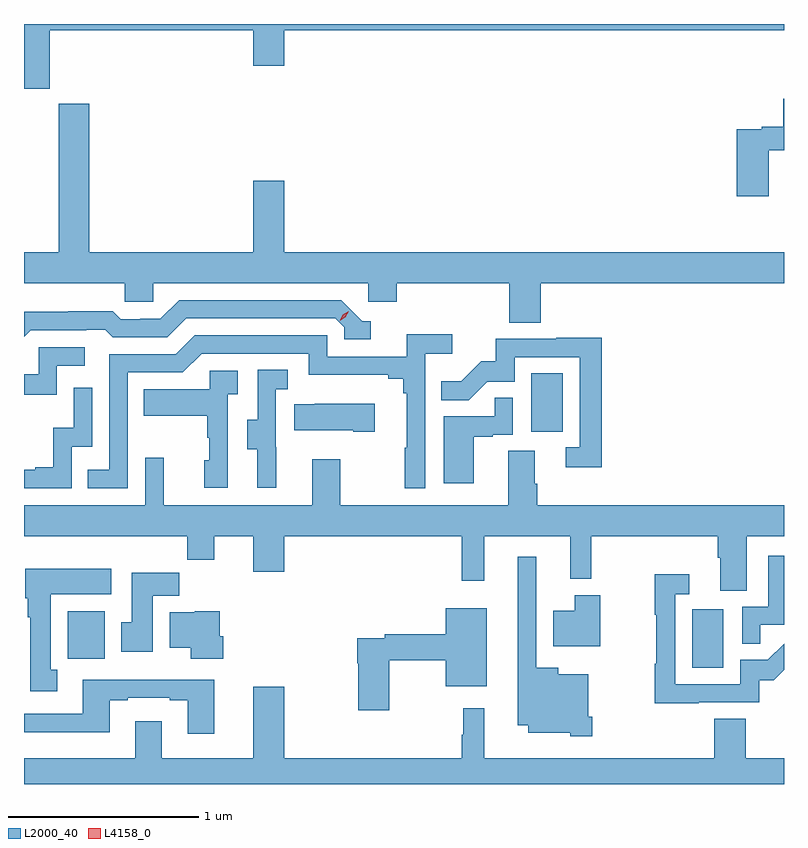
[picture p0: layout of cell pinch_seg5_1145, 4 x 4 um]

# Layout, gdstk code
import gdstk
lib = gdstk.Library(unit=1e-6, precision=1e-09)
def R(c, l, rs):  # rectangles x0, y0, x1, y1
    for r in rs: c.add(gdstk.rectangle(r[:2], r[2:], *l))
def P(c, l, *ps):  # polygons
    for p in ps: c.add(gdstk.Polygon(p, *l))
L2000_40 = (2000, 40)
L4158_0 = (4158, 0)

pinch_seg5_1145 = lib.new_cell('pinch_seg5_1145')
R(pinch_seg5_1145, L2000_40, [(838.646,840.084,838.81,840.391), (835.359,840.132,835.555,840.382), (837.8,841.326,837.964,841.633)])
P(pinch_seg5_1145, L2000_40, [(835.264,843.44),(836.336,843.44),(836.336,843.252),(836.5,843.252),(836.5,843.44),(839.129,843.44),(839.129,843.472),(835.129,843.472),(835.129,843.131),(835.264,843.131)],
  [(839.05,842.807),(839.129,842.807),(839.129,843.079),(839.126,843.079),(839.126,842.931),(839.013,842.931),(839.013,842.917),(838.88,842.917),(838.88,842.565),(839.05,842.565)],
  [(837.848,842.108),(839.129,842.108),(839.129,842.272),(836.5,842.272),(836.5,842.647),(836.336,842.647),(836.336,842.272),(835.472,842.272),(835.472,843.052),(835.312,843.052),(835.312,842.272),(835.129,842.272),(835.129,842.108),(835.659,842.108),(835.659,842.01),(835.809,842.01),(835.809,842.108),(836.94,842.108),(836.94,842.01),(837.092,842.01),(837.092,842.108),(837.683,842.108),(837.683,841.9),(837.848,841.9)],
  [(836.953,841.908),(836.91,841.908),(836.799,842.019),(835.946,842.019),(835.847,841.92),(835.74,841.92),(835.74,841.917),(835.637,841.917),(835.595,841.96),(835.362,841.96),(835.362,841.957),(835.129,841.957),(835.129,841.825),(835.164,841.86),(835.457,841.86),(835.457,841.863),(835.556,841.863),(835.595,841.824),(835.884,841.824),(835.983,841.923),(836.766,841.923),(836.814,841.875),(836.814,841.812),(836.953,841.812)],
  [(835.674,841.638),(835.965,841.638),(836.064,841.737),(836.628,841.737),(836.628,841.625),(837.047,841.625),(837.047,841.606),(837.124,841.606),(837.124,841.529),(837.143,841.529),(837.143,841.241),(837.132,841.241),(837.132,841.029),(837.24,841.029),(837.24,841.736),(837.382,841.736),(837.382,841.838),(837.143,841.838),(837.143,841.722),(836.724,841.722),(836.724,841.833),(836.027,841.833),(835.928,841.734),(835.578,841.734),(835.578,841.125),(835.465,841.125),(835.465,841.029),(835.674,841.029)],
  [(838.169,841.82),(837.931,841.82),(837.931,841.815),(837.613,841.815),(837.613,841.698),(837.536,841.698),(837.429,841.591),(837.325,841.591),(837.325,841.492),(837.469,841.492),(837.567,841.59),(837.711,841.59),(837.711,841.719),(838.053,841.719),(838.053,841.245),(837.981,841.245),(837.981,841.14),(838.169,841.14)],
  [(835.302,841.674),(835.45,841.674),(835.45,841.77),(835.206,841.77),(835.206,841.629),(835.129,841.629),(835.129,841.521),(835.302,841.521)],
  [(836.456,841.245),(836.454,841.245),(836.454,841.549),(836.518,841.549),(836.518,841.652),(836.358,841.652),(836.358,841.389),(836.303,841.389),(836.303,841.234),(836.357,841.234),(836.357,841.032),(836.456,841.032)],
  [(836.202,841.523),(836.254,841.523),(836.254,841.647),(836.106,841.647),(836.106,841.549),(835.759,841.549),(835.759,841.409),(836.094,841.409),(836.094,841.295),(836.104,841.295),(836.104,841.176),(836.078,841.176),(836.078,841.032),(836.202,841.032)],
  [(835.38,841.248),(835.488,841.248),(835.488,841.558),(835.392,841.558),(835.392,841.346),(835.283,841.346),(835.283,841.138),(835.187,841.138),(835.187,841.125),(835.129,841.125),(835.129,841.029),(835.38,841.029)],
  [(837.496,841.299),(837.596,841.299),(837.596,841.311),(837.702,841.311),(837.702,841.505),(837.607,841.505),(837.607,841.407),(837.338,841.407),(837.338,841.056),(837.496,841.056)],
  [(836.974,841.474),(836.659,841.474),(836.659,841.471),(836.551,841.471),(836.551,841.334),(836.861,841.334),(836.861,841.327),(836.974,841.327)],
  [(838.933,840.776),(839.129,840.776),(839.129,840.94),(837.83,840.94),(837.83,841.052),(837.817,841.052),(837.817,841.226),(837.677,841.226),(837.677,840.94),(836.793,840.94),(836.793,841.18),(836.645,841.18),(836.645,840.94),(835.865,840.94),(835.865,841.189),(835.767,841.189),(835.767,840.94),(835.129,840.94),(835.129,840.776),(835.987,840.776),(835.987,840.652),(836.131,840.652),(836.131,840.776),(836.336,840.776),(836.336,840.588),(836.5,840.588),(836.5,840.776),(837.433,840.776),(837.433,840.543),(837.551,840.543),(837.551,840.776),(838.004,840.776),(838.004,840.551),(838.114,840.551),(838.114,840.776),(838.781,840.776),(838.781,840.664),(838.793,840.664),(838.793,840.49),(838.933,840.49)],
  [(839.003,840.309),(839.129,840.309),(839.129,840.673),(839.045,840.673),(839.045,840.405),(838.908,840.405),(838.908,840.211),(839.003,840.211)],
  [(838.121,839.827),(838.099,839.827),(838.099,840.049),(837.94,840.049),(837.94,840.085),(837.825,840.085),(837.825,840.667),(837.728,840.667),(837.728,839.78),(837.782,839.78),(837.782,839.741),(838.005,839.741),(838.005,839.723),(838.121,839.723)],
  [(835.303,840.073),(835.27,840.073),(835.27,840.47),(835.588,840.47),(835.588,840.604),(835.136,840.604),(835.136,840.45),(835.148,840.45),(835.148,840.35),(835.163,840.35),(835.163,839.961),(835.303,839.961)],
  [(835.807,840.464),(835.946,840.464),(835.946,840.583),(835.697,840.583),(835.697,840.324),(835.64,840.324),(835.64,840.168),(835.807,840.168)],
  [(838.679,839.901),(838.998,839.901),(838.998,840.018),(839.074,840.018),(839.129,840.073),(839.129,840.211),(839.044,840.126),(838.899,840.126),(838.899,839.997),(838.557,839.997),(838.557,840.471),(838.63,840.471),(838.63,840.577),(838.449,840.577),(838.449,840.364),(838.456,840.364),(838.456,840.104),(838.449,840.104),(838.449,839.896),(838.679,839.896)],
  [(838.162,840.466),(838.028,840.466),(838.028,840.385),(837.914,840.385),(837.914,840.197),(838.162,840.197)],
  [(837.052,840.124),(837.35,840.124),(837.35,839.987),(837.565,839.987),(837.565,840.397),(837.35,840.397),(837.35,840.26),(837.028,840.26),(837.028,840.24),(836.882,840.24),(836.882,840.107),(836.887,840.107),(836.887,839.859),(837.052,839.859)],
  [(836.177,840.249),(836.159,840.249),(836.159,840.382),(836.028,840.382),(836.028,840.376),(835.895,840.376),(835.895,840.188),(836.006,840.188),(836.006,840.131),(836.177,840.131)],
  [(836.131,840.022),(835.439,840.022),(835.439,839.841),(835.129,839.841),(835.129,839.744),(835.579,839.744),(835.579,839.913),(835.675,839.913),(835.675,839.925),(835.895,839.925),(835.895,839.913),(835.991,839.913),(835.991,839.736),(836.131,839.736)],
  [(839.129,839.608),(838.928,839.608),(838.928,839.816),(838.763,839.816),(838.763,839.608),(837.552,839.608),(837.552,839.872),(837.441,839.872),(837.441,839.732),(837.433,839.732),(837.433,839.608),(836.5,839.608),(836.5,839.983),(836.336,839.983),(836.336,839.608),(835.855,839.608),(835.855,839.803),(835.715,839.803),(835.715,839.608),(835.129,839.608),(835.129,839.472),(839.129,839.472)])
P(pinch_seg5_1145, L4158_0, [(836.79,841.909),(836.79,841.909),(836.806,841.942),(836.837,841.961),(836.838,841.961),(836.838,841.961),(836.821,841.928),(836.79,841.909)])

lib.write_gds('pinch_seg5_1145.gds')
